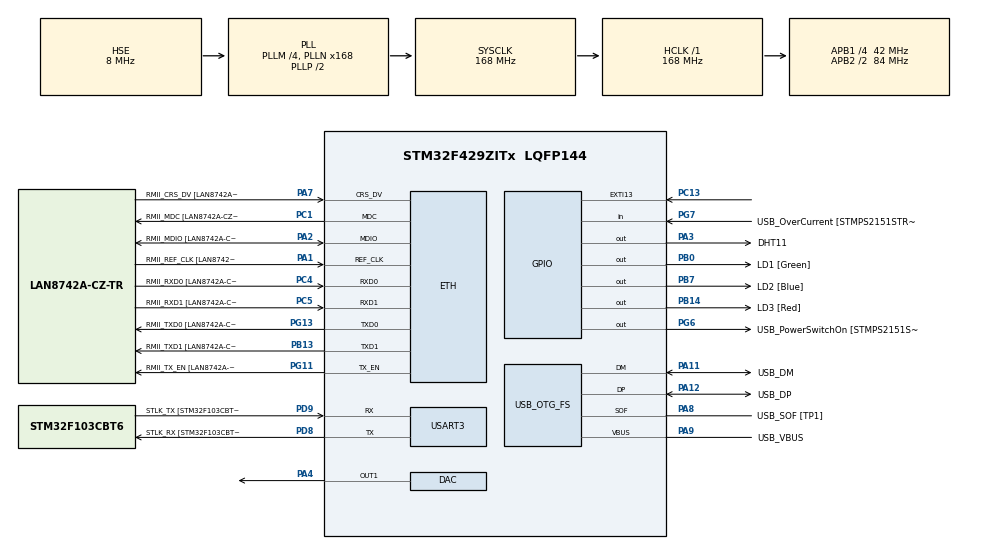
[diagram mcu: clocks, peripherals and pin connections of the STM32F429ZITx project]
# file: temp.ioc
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ADC1.Channel-4\#ChannelRegularConversion=ADC_CHANNEL_TEMPSENSOR
ADC1.NbrOfConversionFlag=1
ADC1.Rank-4\#ChannelRegularConversion=1
ADC1.SamplingTime-4\#ChannelRegularConversion=ADC_SAMPLETIME_3CYCLES
ADC1.master=1
ETH.MediaInterface=HAL_ETH_RMII_MODE
ETH.PHY_Name=LAN8742A_PHY_ADDRESS
ETH.PHY_Value=0
ETH.PhyAddress=0
Mcu.Family=STM32F4
Mcu.Name=STM32F429ZITx
Mcu.Package=LQFP144
NVIC.PriorityGroup=NVIC_PRIORITYGROUP_4
PA1.GPIO_Label=RMII_REF_CLK [LAN8742A-CZ-TR_REFCLK0]
PA1.Mode=RMII
PA1.Signal=ETH_REF_CLK
PA10.GPIO_Label=USB_ID
PA10.Signal=USB_OTG_FS_ID
PA11.GPIO_Label=USB_DM
PA11.Mode=Device_Only
PA11.Signal=USB_OTG_FS_DM
PA12.GPIO_Label=USB_DP
PA12.Mode=Device_Only
PA12.Signal=USB_OTG_FS_DP
PA13.GPIO_Label=TMS
PA13.Mode=Serial_Wire
PA13.Signal=SYS_JTMS-SWDIO
PA14.GPIO_Label=TCK
PA14.Mode=Serial_Wire
PA14.Signal=SYS_JTCK-SWCLK
PA2.GPIO_Label=RMII_MDIO [LAN8742A-CZ-TR_MDIO]
PA2.Mode=RMII
PA2.Signal=ETH_MDIO
PA3.GPIO_Label=DHT11
PA3.PinState=GPIO_PIN_SET
PA3.Signal=GPIO_Output
PA4.Signal=COMP_DAC1_group
PA7.GPIO_Label=RMII_CRS_DV [LAN8742A-CZ-TR_CRS_DV]
PA7.Mode=RMII
PA7.Signal=ETH_CRS_DV
PA8.GPIO_Label=USB_SOF [TP1]
PA8.Mode=Activate_SOF_FS
PA8.Signal=USB_OTG_FS_SOF
PA9.GPIO_Label=USB_VBUS
PA9.Mode=Activate_VBUS
PA9.Signal=USB_OTG_FS_VBUS
PB0.GPIO_Label=LD1 [Green]
PB0.Signal=GPIO_Output
PB13.GPIO_Label=RMII_TXD1 [LAN8742A-CZ-TR_TXD1]
PB13.Mode=RMII
PB13.Signal=ETH_TXD1
PB14.GPIO_Label=LD3 [Red]
PB14.Signal=GPIO_Output
PB7.GPIO_Label=LD2 [Blue]
PB7.Signal=GPIO_Output
PC1.GPIO_Label=RMII_MDC [LAN8742A-CZ-TR_MDC]
PC1.Mode=RMII
PC1.Signal=ETH_MDC
PC13.Signal=GPXTI13
PC14/OSC32_IN.Mode=LSE-External-Oscillator
PC14/OSC32_IN.Signal=RCC_OSC32_IN
PC15/OSC32_OUT.Mode=LSE-External-Oscillator
PC15/OSC32_OUT.Signal=RCC_OSC32_OUT
PC4.GPIO_Label=RMII_RXD0 [LAN8742A-CZ-TR_RXD0]
PC4.Mode=RMII
PC4.Signal=ETH_RXD0
PC5.GPIO_Label=RMII_RXD1 [LAN8742A-CZ-TR_RXD1]
PC5.Mode=RMII
PC5.Signal=ETH_RXD1
PD8.GPIO_Label=STLK_RX [STM32F103CBT6_PA3]
PD8.Mode=Asynchronous
PD8.Signal=USART3_TX
PD9.GPIO_Label=STLK_TX [STM32F103CBT6_PA2]
PD9.Mode=Asynchronous
PD9.Signal=USART3_RX
PG11.GPIO_Label=RMII_TX_EN [LAN8742A-CZ-TR_TXEN]
PG11.Mode=RMII
PG11.Signal=ETH_TX_EN
PG13.GPIO_Label=RMII_TXD0 [LAN8742A-CZ-TR_TXD0]
PG13.Mode=RMII
PG13.Signal=ETH_TXD0
PG6.GPIO_Label=USB_PowerSwitchOn [STMPS2151STR_EN]
PG6.Signal=GPIO_Output
PG7.GPIO_Label=USB_OverCurrent [STMPS2151STR_FAULT]
PG7.Signal=GPIO_Input
PH0/OSC_IN.GPIO_Label=MCO [STM32F103CBT6_PA8]
PH0/OSC_IN.Mode=HSE-External-Clock-Source
PH0/OSC_IN.Signal=RCC_OSC_IN
PH1/OSC_OUT.Mode=HSE-External-Clock-Source
PH1/OSC_OUT.Signal=RCC_OSC_OUT
ProjectManager.HeapSize=0x200
ProjectManager.StackSize=0x400
ProjectManager.TargetToolchain=STM32CubeIDE
RCC.48MHZClocksFreq_Value=48000000
RCC.AHBFreq_Value=168000000
RCC.APB1CLKDivider=RCC_HCLK_DIV4
RCC.APB1Freq_Value=42000000
RCC.APB1TimFreq_Value=84000000
RCC.APB2CLKDivider=RCC_HCLK_DIV2
RCC.APB2Freq_Value=84000000
RCC.APB2TimCLKDivider=2
RCC.APB2TimFreq_Value=168000000
RCC.CortexFreq_Value=168000000
RCC.HCLKFreq_Value=168000000
RCC.HSE_VALUE=8000000
RCC.HSI_VALUE=16000000
RCC.PLLM=4
RCC.PLLMUL=RCC_PLL_MUL9
RCC.PLLN=168
RCC.PLLQ=7
RCC.PRESCALERUSB=RCC_USBCLKSOURCE_PLL_DIV1_5
RCC.RCC_RTC_Clock_Source=RCC_RTCCLKSOURCE_LSE
RCC.RCC_RTC_Clock_SourceVirtual=RCC_RTCCLKSOURCE_LSE
RCC.SYSCLKFreq_VALUE=168000000
RCC.SYSCLKSource=RCC_SYSCLKSOURCE_PLLCLK
RCC.SYSCLKSourceVirtual=RCC_SYSCLKSOURCE_PLLCLK
RCC.USBFreq_Value=48000000
RCC.VCOOutputFreq_Value=336000000
RTC.HourFormat=RTC_HOURFORMAT_12
SH.COMP_DAC1_group.0=DAC_OUT1,DAC_OUT1
TIM1.Period=0xffff-1
TIM1.Prescaler=168-1
USART3.VirtualMode=VM_ASYNC
USB_OTG_FS.VirtualMode=Device_Only
VP_ADC1_TempSens_Input.Mode=IN-TempSens
VP_RTC_VS_RTC_Activate.Mode=RTC_Enabled
VP_TIM1_VS_ClockSourceINT.Mode=Internal
board=NUCLEO-F429ZI

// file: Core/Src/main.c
/* USER CODE BEGIN Header */
/**
  ******************************************************************************
  * @file           : main.c
  * @brief          : Main program body
  ******************************************************************************
  * @attention
  *
  * Copyright (c) 2023 STMicroelectronics.
  * All rights reserved.
  *
  * This software is licensed under terms that can be found in the LICENSE file
  * in the root directory of this software component.
  * If no LICENSE file comes with this software, it is provided AS-IS.
  *
  ******************************************************************************
  */
/* USER CODE END Header */
#include "main.h"
#include "string.h"

ETH_TxPacketConfig TxConfig;
ETH_DMADescTypeDef  DMARxDscrTab[ETH_RX_DESC_CNT]; /* Ethernet Rx DMA Descriptors */
ETH_DMADescTypeDef  DMATxDscrTab[ETH_TX_DESC_CNT]; /* Ethernet Tx DMA Descriptors */

ADC_HandleTypeDef hadc1;

DAC_HandleTypeDef hdac;

ETH_HandleTypeDef heth;

RTC_HandleTypeDef hrtc;

TIM_HandleTypeDef htim1;

UART_HandleTypeDef huart3;

PCD_HandleTypeDef hpcd_USB_OTG_FS;

void SystemClock_Config(void);
static void MX_GPIO_Init(void);
static void MX_ETH_Init(void);
static void MX_USART3_UART_Init(void);
static void MX_USB_OTG_FS_PCD_Init(void);
static void MX_ADC1_Init(void);
static void MX_DAC_Init(void);
static void MX_RTC_Init(void);
static void MX_TIM1_Init(void);
/* USER CODE BEGIN PFP */

int _write(int file, char *ptr, int len)
{
	HAL_UART_Transmit(&huart3, (uint8_t *)ptr, len, 500);

	return len;
}
int _io_putchar(int ch)
{
	HAL_UART_Transmit(&huart3, (uint8_t *)&ch, 1, 1000);
	return ch;
}

/* USER CODE END PFP */

/* USER CODE BEGIN 0 */

uint8_t Rh_byte1, Rh_byte2, Temp_byte1, Temp_byte2;
uint16_t SUM, RH, TEMP;

float Temperature = 0;
float Humidity = 0;
uint8_t Presence = 0;

void delay_us(uint16_t time) {
	__HAL_TIM_SET_COUNTER(&htim1, 0);              // ???��머�?? 0?���????? 초기?��
	while((__HAL_TIM_GET_COUNTER(&htim1))<time);   // ?��?��?�� ?��간까�????? ??�?????
}
void Set_Pin_Output (GPIO_TypeDef *GPIOx, uint16_t GPIO_Pin)
{
	GPIO_InitTypeDef GPIO_InitStruct = {0};
	GPIO_InitStruct.Pin = GPIO_Pin;
	GPIO_InitStruct.Mode = GPIO_MODE_OUTPUT_PP;
	GPIO_InitStruct.Speed = GPIO_SPEED_FREQ_LOW;
	HAL_GPIO_Init(GPIOx, &GPIO_InitStruct);
}

void Set_Pin_Input (GPIO_TypeDef *GPIOx, uint16_t GPIO_Pin)
{
	GPIO_InitTypeDef GPIO_InitStruct = {0};
	GPIO_InitStruct.Pin = GPIO_Pin;
	GPIO_InitStruct.Mode = GPIO_MODE_INPUT;
	GPIO_InitStruct.Pull = GPIO_PULLUP;
	HAL_GPIO_Init(GPIOx, &GPIO_InitStruct);
}
void DHT11_Start (void)
{
	Set_Pin_Output (DHT11_GPIO_Port, DHT11_Pin);  // set the pin as output
	HAL_GPIO_WritePin (DHT11_GPIO_Port, DHT11_Pin, 0);   // pull the pin low
	delay_us(18000);   // wait for 18ms
	Set_Pin_Input(DHT11_GPIO_Port, DHT11_Pin);    // set as input
}
uint8_t DHT11_Check_Response (void)
{
	uint8_t Response = 0;
	delay_us (40);
	if (!(HAL_GPIO_ReadPin (DHT11_GPIO_Port, DHT11_Pin)))
	{
		delay_us (80);
		if ((HAL_GPIO_ReadPin (DHT11_GPIO_Port, DHT11_Pin))) Response = 1;
		else Response = -1;
	}
	while ((HAL_GPIO_ReadPin (DHT11_GPIO_Port, DHT11_Pin)));   // wait for the pin to go low

	return Response;
}
uint8_t DHT11_Read (void)
{
	uint8_t i,j;
	for (j=0;j<8;j++)
	{
		while (!(HAL_GPIO_ReadPin (DHT11_GPIO_Port, DHT11_Pin)));   // wait for the pin to go high
		delay_us (40);   // wait for 40 us
		if (!(HAL_GPIO_ReadPin (DHT11_GPIO_Port, DHT11_Pin)))   // if the pin is low
		{
			i&= ~(1<<(7-j));   // write 0
		}
		else i|= (1<<(7-j));  // if the pin is high, write 1
		while ((HAL_GPIO_ReadPin (DHT11_GPIO_Port, DHT11_Pin)));  // wait for the pin to go low
	}
	return i;
}

/* USER CODE END 0 */

int main(void)
{

  /* MCU Configuration--------------------------------------------------------*/

  /* Reset of all peripherals, Initializes the Flash interface and the Systick. */
  HAL_Init();

  /* Configure the system clock */
  SystemClock_Config();

  /* Initialize all configured peripherals */
  MX_GPIO_Init();
  MX_ETH_Init();
  MX_USART3_UART_Init();
  MX_USB_OTG_FS_PCD_Init();
  MX_ADC1_Init();
  MX_DAC_Init();
  MX_RTC_Init();
  MX_TIM1_Init();
  /* USER CODE BEGIN 2 */

  HAL_TIM_Base_Start(&htim1);
  int count = 0;
  /* USER CODE END 2 */

  /* Infinite loop */
  /* USER CODE BEGIN WHILE */
//  while (1)
//  {
    /* USER CODE END WHILE */

    /* USER CODE BEGIN 3 */
//	  int return_val = HAL_UART_Receive(&huart3, (uint8_t *)&data, sizeof(data), 500);
//
//	  printf("Receive : %d", return_val);
//
////	  if(0)
////	  {
////		  HAL_UART_Transmit(&huart3, (uint8_t *)&data, sizeof(data), 500);
////		  HAL_GPIO_TogglePin(GPIOB, LD1_Pin);
////	  }
//
////	  if(HAL_GPIO_ReadPin(GPIOC, GPIO_PIN_13) == GPIO_PIN_SET)
////	  {
////		  HAL_GPIO_WritePin(GPIOB, LD1_Pin|LD3_Pin|LD2_Pin, 1);
////		  HAL_Delay(500);
////		  HAL_GPIO_WritePin(GPIOB, LD1_Pin|LD3_Pin|LD2_Pin, 0);
////		  HAL_Delay(500);
////		  printf("USART print test count = %d\r\n", count++);
////	  }
//
//
//
//  }

  double temperature = 0;

  //HAL_ADC_Start(&hadc1);

  printf("Hello World !!\r\n");

  while(1)
  {

//    HAL_ADC_Start(&hadc1);
//    RTC_TimeTypeDef sTime;
//
//    if(HAL_ADC_PollForConversion(&hadc1, 1000000) == HAL_OK)
//    {
//      uint32_t adc_value = HAL_ADC_GetValue(&hadc1);
//      temperature = adc_value * 3.3/ 0xfff;
//      temperature = (temperature-0.76)/0.0025 + 25.0;
//      //printf("Temperature : %f\r\n", temperature);
//    }

    	DHT11_Start();
	  Presence = DHT11_Check_Response();
	  Rh_byte1 = DHT11_Read ();
	  Rh_byte2 = DHT11_Read ();
	  Temp_byte1 = DHT11_Read ();
	  Temp_byte2 = DHT11_Read ();
	  SUM = DHT11_Read();

	  TEMP = Temp_byte1;
	  RH = Rh_byte1;

	  Temperature = (float) TEMP;
	  Humidity = (float) RH;

	  printf("%f, %f \r\n", Temperature, Humidity);
	  HAL_Delay(500);

//	  delay_us(100000);
//	  printf("%d",count++);
//	  printf(" 100ms\r\n");
//	  HAL_GPIO_WritePin(GPIOB, LD1_Pin|LD3_Pin|LD2_Pin, 1);
//
//	  delay_us(10);
//
//	  HAL_GPIO_WritePin(GPIOB, LD1_Pin|LD3_Pin|LD2_Pin, 0);
//	  delay_us(10);

  }

  /* USER CODE END 3 */
}

void SystemClock_Config(void)
{
  RCC_OscInitTypeDef RCC_OscInitStruct = {0};
  RCC_ClkInitTypeDef RCC_ClkInitStruct = {0};

  /** Configure the main internal regulator output voltage
  */
  __HAL_RCC_PWR_CLK_ENABLE();
  __HAL_PWR_VOLTAGESCALING_CONFIG(PWR_REGULATOR_VOLTAGE_SCALE1);

  /** Initializes the RCC Oscillators according to the specified parameters
  * in the RCC_OscInitTypeDef structure.
  */
  RCC_OscInitStruct.OscillatorType = RCC_OSCILLATORTYPE_HSE|RCC_OSCILLATORTYPE_LSE;
  RCC_OscInitStruct.HSEState = RCC_HSE_BYPASS;
  RCC_OscInitStruct.LSEState = RCC_LSE_ON;
  RCC_OscInitStruct.PLL.PLLState = RCC_PLL_ON;
  RCC_OscInitStruct.PLL.PLLSource = RCC_PLLSOURCE_HSE;
  RCC_OscInitStruct.PLL.PLLM = 4;
  RCC_OscInitStruct.PLL.PLLN = 168;
  RCC_OscInitStruct.PLL.PLLP = RCC_PLLP_DIV2;
  RCC_OscInitStruct.PLL.PLLQ = 7;
  if (HAL_RCC_OscConfig(&RCC_OscInitStruct) != HAL_OK)
  {
    Error_Handler();
  }

  /** Initializes the CPU, AHB and APB buses clocks
  */
  RCC_ClkInitStruct.ClockType = RCC_CLOCKTYPE_HCLK|RCC_CLOCKTYPE_SYSCLK
                              |RCC_CLOCKTYPE_PCLK1|RCC_CLOCKTYPE_PCLK2;
  RCC_ClkInitStruct.SYSCLKSource = RCC_SYSCLKSOURCE_PLLCLK;
  RCC_ClkInitStruct.AHBCLKDivider = RCC_SYSCLK_DIV1;
  RCC_ClkInitStruct.APB1CLKDivider = RCC_HCLK_DIV4;
  RCC_ClkInitStruct.APB2CLKDivider = RCC_HCLK_DIV2;

  if (HAL_RCC_ClockConfig(&RCC_ClkInitStruct, FLASH_LATENCY_5) != HAL_OK)
  {
    Error_Handler();
  }
}

static void MX_ADC1_Init(void)
{

  ADC_ChannelConfTypeDef sConfig = {0};

  /** Configure the global features of the ADC (Clock, Resolution, Data Alignment and number of conversion)
  */
  hadc1.Instance = ADC1;
  hadc1.Init.ClockPrescaler = ADC_CLOCK_SYNC_PCLK_DIV4;
  hadc1.Init.Resolution = ADC_RESOLUTION_12B;
  hadc1.Init.ScanConvMode = DISABLE;
  hadc1.Init.ContinuousConvMode = DISABLE;
  hadc1.Init.DiscontinuousConvMode = DISABLE;
  hadc1.Init.ExternalTrigConvEdge = ADC_EXTERNALTRIGCONVEDGE_NONE;
  hadc1.Init.ExternalTrigConv = ADC_SOFTWARE_START;
  hadc1.Init.DataAlign = ADC_DATAALIGN_RIGHT;
  hadc1.Init.NbrOfConversion = 1;
  hadc1.Init.DMAContinuousRequests = DISABLE;
  hadc1.Init.EOCSelection = ADC_EOC_SINGLE_CONV;
  if (HAL_ADC_Init(&hadc1) != HAL_OK)
  {
    Error_Handler();
  }

  /** Configure for the selected ADC regular channel its corresponding rank in the sequencer and its sample time.
  */
  sConfig.Channel = ADC_CHANNEL_TEMPSENSOR;
  sConfig.Rank = 1;
  sConfig.SamplingTime = ADC_SAMPLETIME_3CYCLES;
  if (HAL_ADC_ConfigChannel(&hadc1, &sConfig) != HAL_OK)
  {
    Error_Handler();
  }

}

static void MX_DAC_Init(void)
{

  DAC_ChannelConfTypeDef sConfig = {0};

  /** DAC Initialization
  */
  hdac.Instance = DAC;
  if (HAL_DAC_Init(&hdac) != HAL_OK)
  {
    Error_Handler();
  }

  /** DAC channel OUT1 config
  */
  sConfig.DAC_Trigger = DAC_TRIGGER_NONE;
  sConfig.DAC_OutputBuffer = DAC_OUTPUTBUFFER_ENABLE;
  if (HAL_DAC_ConfigChannel(&hdac, &sConfig, DAC_CHANNEL_1) != HAL_OK)
  {
    Error_Handler();
  }

}

static void MX_ETH_Init(void)
{

   static uint8_t MACAddr[6];

  heth.Instance = ETH;
  MACAddr[0] = 0x00;
  MACAddr[1] = 0x80;
  MACAddr[2] = 0xE1;
  MACAddr[3] = 0x00;
  MACAddr[4] = 0x00;
  MACAddr[5] = 0x00;
  heth.Init.MACAddr = &MACAddr[0];
  heth.Init.MediaInterface = HAL_ETH_RMII_MODE;
  heth.Init.TxDesc = DMATxDscrTab;
  heth.Init.RxDesc = DMARxDscrTab;
  heth.Init.RxBuffLen = 1524;

  if (HAL_ETH_Init(&heth) != HAL_OK)
  {
    Error_Handler();
  }

  memset(&TxConfig, 0 , sizeof(ETH_TxPacketConfig));
  TxConfig.Attributes = ETH_TX_PACKETS_FEATURES_CSUM | ETH_TX_PACKETS_FEATURES_CRCPAD;
  TxConfig.ChecksumCtrl = ETH_CHECKSUM_IPHDR_PAYLOAD_INSERT_PHDR_CALC;
  TxConfig.CRCPadCtrl = ETH_CRC_PAD_INSERT;

}

static void MX_RTC_Init(void)
{

  /** Initialize RTC Only
  */
  hrtc.Instance = RTC;
  hrtc.Init.HourFormat = RTC_HOURFORMAT_12;
  hrtc.Init.AsynchPrediv = 127;
  hrtc.Init.SynchPrediv = 255;
  hrtc.Init.OutPut = RTC_OUTPUT_DISABLE;
  hrtc.Init.OutPutPolarity = RTC_OUTPUT_POLARITY_HIGH;
  hrtc.Init.OutPutType = RTC_OUTPUT_TYPE_OPENDRAIN;
  if (HAL_RTC_Init(&hrtc) != HAL_OK)
  {
    Error_Handler();
  }

}

static void MX_TIM1_Init(void)
{

  TIM_ClockConfigTypeDef sClockSourceConfig = {0};
  TIM_MasterConfigTypeDef sMasterConfig = {0};

  htim1.Instance = TIM1;
  htim1.Init.Prescaler = 168-1;
  htim1.Init.CounterMode = TIM_COUNTERMODE_UP;
  htim1.Init.Period = 0xffff-1;
  htim1.Init.ClockDivision = TIM_CLOCKDIVISION_DIV1;
  htim1.Init.RepetitionCounter = 0;
  htim1.Init.AutoReloadPreload = TIM_AUTORELOAD_PRELOAD_DISABLE;
  if (HAL_TIM_Base_Init(&htim1) != HAL_OK)
  {
    Error_Handler();
  }
  sClockSourceConfig.ClockSource = TIM_CLOCKSOURCE_INTERNAL;
  if (HAL_TIM_ConfigClockSource(&htim1, &sClockSourceConfig) != HAL_OK)
  {
    Error_Handler();
  }
  sMasterConfig.MasterOutputTrigger = TIM_TRGO_RESET;
  sMasterConfig.MasterSlaveMode = TIM_MASTERSLAVEMODE_DISABLE;
  if (HAL_TIMEx_MasterConfigSynchronization(&htim1, &sMasterConfig) != HAL_OK)
  {
    Error_Handler();
  }

}

static void MX_USART3_UART_Init(void)
{

  huart3.Instance = USART3;
  huart3.Init.BaudRate = 115200;
  huart3.Init.WordLength = UART_WORDLENGTH_8B;
  huart3.Init.StopBits = UART_STOPBITS_1;
  huart3.Init.Parity = UART_PARITY_NONE;
  huart3.Init.Mode = UART_MODE_TX_RX;
  huart3.Init.HwFlowCtl = UART_HWCONTROL_NONE;
  huart3.Init.OverSampling = UART_OVERSAMPLING_16;
  if (HAL_UART_Init(&huart3) != HAL_OK)
  {
    Error_Handler();
  }

}

static void MX_USB_OTG_FS_PCD_Init(void)
{

  hpcd_USB_OTG_FS.Instance = USB_OTG_FS;
  hpcd_USB_OTG_FS.Init.dev_endpoints = 4;
  hpcd_USB_OTG_FS.Init.speed = PCD_SPEED_FULL;
  hpcd_USB_OTG_FS.Init.dma_enable = DISABLE;
  hpcd_USB_OTG_FS.Init.phy_itface = PCD_PHY_EMBEDDED;
  hpcd_USB_OTG_FS.Init.Sof_enable = ENABLE;
  hpcd_USB_OTG_FS.Init.low_power_enable = DISABLE;
  hpcd_USB_OTG_FS.Init.lpm_enable = DISABLE;
  hpcd_USB_OTG_FS.Init.vbus_sensing_enable = ENABLE;
  hpcd_USB_OTG_FS.Init.use_dedicated_ep1 = DISABLE;
  if (HAL_PCD_Init(&hpcd_USB_OTG_FS) != HAL_OK)
  {
    Error_Handler();
  }

}

static void MX_GPIO_Init(void)
{
  GPIO_InitTypeDef GPIO_InitStruct = {0};

  /* GPIO Ports Clock Enable */
  __HAL_RCC_GPIOC_CLK_ENABLE();
  __HAL_RCC_GPIOH_CLK_ENABLE();
  __HAL_RCC_GPIOA_CLK_ENABLE();
  __HAL_RCC_GPIOB_CLK_ENABLE();
  __HAL_RCC_GPIOD_CLK_ENABLE();
  __HAL_RCC_GPIOG_CLK_ENABLE();

  /*Configure GPIO pin Output Level */
  HAL_GPIO_WritePin(DHT11_GPIO_Port, DHT11_Pin, GPIO_PIN_SET);

  /*Configure GPIO pin Output Level */
  HAL_GPIO_WritePin(GPIOB, LD1_Pin|LD3_Pin|LD2_Pin, GPIO_PIN_RESET);

  /*Configure GPIO pin Output Level */
  HAL_GPIO_WritePin(USB_PowerSwitchOn_GPIO_Port, USB_PowerSwitchOn_Pin, GPIO_PIN_RESET);

  /*Configure GPIO pin : PC13 */
  GPIO_InitStruct.Pin = GPIO_PIN_13;
  GPIO_InitStruct.Mode = GPIO_MODE_IT_RISING;
  GPIO_InitStruct.Pull = GPIO_NOPULL;
  HAL_GPIO_Init(GPIOC, &GPIO_InitStruct);

  /*Configure GPIO pin : DHT11_Pin */
  GPIO_InitStruct.Pin = DHT11_Pin;
  GPIO_InitStruct.Mode = GPIO_MODE_OUTPUT_PP;
  GPIO_InitStruct.Pull = GPIO_NOPULL;
  GPIO_InitStruct.Speed = GPIO_SPEED_FREQ_LOW;
  HAL_GPIO_Init(DHT11_GPIO_Port, &GPIO_InitStruct);

  /*Configure GPIO pins : LD1_Pin LD3_Pin LD2_Pin */
  GPIO_InitStruct.Pin = LD1_Pin|LD3_Pin|LD2_Pin;
  GPIO_InitStruct.Mode = GPIO_MODE_OUTPUT_PP;
  GPIO_InitStruct.Pull = GPIO_NOPULL;
  GPIO_InitStruct.Speed = GPIO_SPEED_FREQ_LOW;
  HAL_GPIO_Init(GPIOB, &GPIO_InitStruct);

  /*Configure GPIO pin : USB_PowerSwitchOn_Pin */
  GPIO_InitStruct.Pin = USB_PowerSwitchOn_Pin;
  GPIO_InitStruct.Mode = GPIO_MODE_OUTPUT_PP;
  GPIO_InitStruct.Pull = GPIO_NOPULL;
  GPIO_InitStruct.Speed = GPIO_SPEED_FREQ_LOW;
  HAL_GPIO_Init(USB_PowerSwitchOn_GPIO_Port, &GPIO_InitStruct);

  /*Configure GPIO pin : USB_OverCurrent_Pin */
  GPIO_InitStruct.Pin = USB_OverCurrent_Pin;
  GPIO_InitStruct.Mode = GPIO_MODE_INPUT;
  GPIO_InitStruct.Pull = GPIO_NOPULL;
  HAL_GPIO_Init(USB_OverCurrent_GPIO_Port, &GPIO_InitStruct);

}

void Error_Handler(void)
{
  __disable_irq();
  while (1)
  {
  }
}
